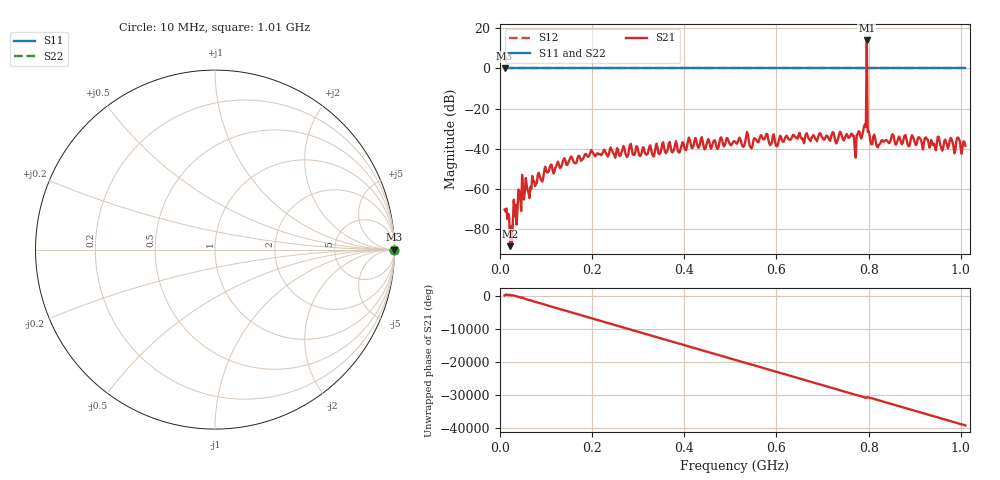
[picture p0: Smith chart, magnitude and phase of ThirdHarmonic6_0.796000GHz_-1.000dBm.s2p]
! 8/16/2025 2:33:29 AM
! C:\ANRITSUVNA\TEMP\TEMP.S2P
! CHANNEL.1
! TR.MEASUREMENT
! RAW.DATA
! RF.CORRECTION.OFF
! AVERAGING.OFF
! IF.BANDWIDTH: 5KHZ
! SWEEPTYPE:  FREQ.SWEEP(Linear)
! Reference Plane Port Info
! PORT:  PORT1  PORT2
! DISTANCE:  0  m  0  m
! TIME:  0  s  0  s
! PHASE.OFFSET:  0  deg.  0  deg.
! LOSS:  0  dB  0  dB
! REF.LOSS:  0  dB  0  dB
! REF.FREQ:  0  Hz  0  Hz
! Power Info
! POWER:  -20  dBm  -20  dBm
! EFF.POWER:  -20  dBm  -20  dBm
! SOURCE.ATTEN:  0  dB  0  dB
! TEST.ATTEN:  0  dB  0  dB
# GHZ S RI R 50.0
! FREQ.GHZ  S11RE  S11IM  S21RE  S21IM  S12RE  S12IM  S22RE  S22IM
!; PortSelection: Port_12
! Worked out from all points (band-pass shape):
!   501 points, 10 MHz to 1.01 GHz, reference 50 ohm
!   highest |S21| = 13.90 dB at 796 MHz (marker M1); lowest = -88.5 dB at 22 MHz (marker M2)
!   |S21| within 3 dB of the highest: 795.8609 MHz to 796.1319 MHz (271 kHz wide, 0.034 % of centre)
!   lowest |S11| = 0.0 dB at 10 MHz (marker M3)
!   |S11| at or under -10 dB: nowhere
!   |S22| runs from 0.0 to 0.0 dB; largest |S21 - S12| = 4.8
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0.01  1 0  -0.000223 0.000209  1 0  1 0
0.022  1 0  -1.43e-05 -3.46e-05  1 0  1 0
0.052  1 0  0.000184 -0.00051  1 0  1 0
0.064  1 0  -0.000228 0.000541  1 0  1 0
0.108  1 0  -0.00269 0.00211  1 0  1 0
0.178  1 0  -0.00535 0.000291  1 0  1 0
0.2  1 0  0.00861 -0.000536  1 0  1 0
0.344  1 0  0.00471 -0.00601  1 0  1 0
0.39  1 0  0.000923 -0.00812  1 0  1 0
0.41  1 0  -0.019 -0.00179  1 0  1 0
0.51  1 0  -0.00468 0.0144  1 0  1 0
0.678  1 0  -0.02 0.0021  1 0  1 0
0.764  1 0  0.00942 -0.0216  1 0  1 0
0.77  1 0  0.00672 0.00695  1 0  1 0
0.79  1 0  0.0319 -0.0165  1 0  1 0
0.792  1 0  -0.0253 -0.0315  1 0  1 0
0.796  1 0  1.096 -4.834  1 0  1 0
0.8  1 0  -0.0129 -0.0246  1 0  1 0
0.802  1 0  -0.0183 0.0116  1 0  1 0
0.82  1 0  -0.0108 -0.000619  1 0  1 0
0.844  1 0  0.00757 -0.0114  1 0  1 0
1.01  1 0  0.00296 0.0115  1 0  1 0
